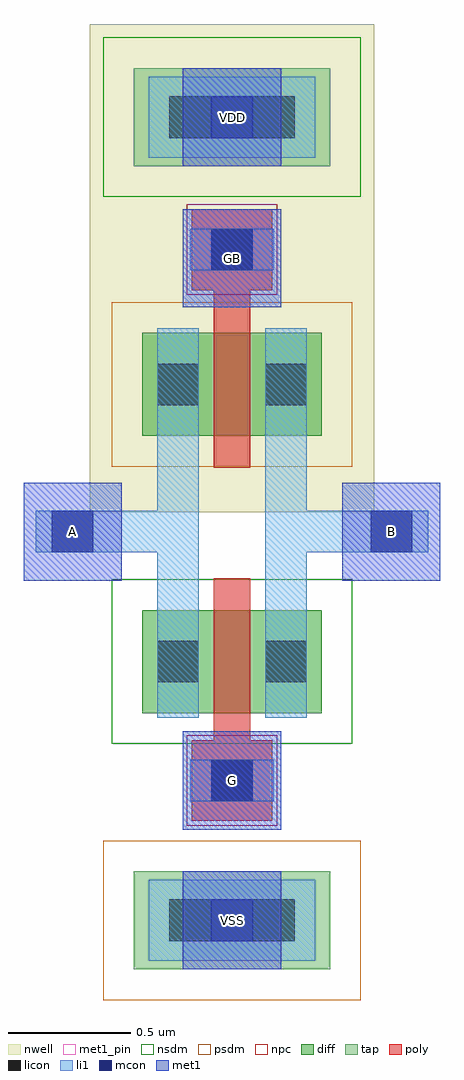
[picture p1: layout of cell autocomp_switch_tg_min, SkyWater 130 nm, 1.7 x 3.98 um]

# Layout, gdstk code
import gdstk
lib = gdstk.Library(unit=1e-6, precision=1e-09)
def R(c, l, rs):  # rectangles x0, y0, x1, y1
    for r in rs: c.add(gdstk.rectangle(r[:2], r[2:], *l))
nwell = (64, 20)
diff = (65, 20)
tap = (65, 44)
poly = (66, 20)
licon = (66, 44)
li1 = (67, 20)
mcon = (67, 44)
met1_pin = (68, 16)
met1 = (68, 20)
nsdm = (93, 44)
psdm = (94, 20)
npc = (95, 20)

autocomp_sky130_fd_pr__p = lib.new_cell('autocomp_sky130_fd_pr__pfet_01v8_28SET8')
R(autocomp_sky130_fd_pr__p, nwell, [(-0.545,-0.71,0.545,0.54)])
R(autocomp_sky130_fd_pr__p, diff, [(-0.365,-0.4,0.365,0.02)])
R(autocomp_sky130_fd_pr__p, poly, [(-0.075,-0.53,0.075,0.195), (-0.165,0.195,0.165,0.525)])
R(autocomp_sky130_fd_pr__p, licon, [(-0.305,-0.275,-0.135,-0.105), (0.135,-0.275,0.305,-0.105), (-0.085,0.275,0.085,0.445)])
R(autocomp_sky130_fd_pr__p, li1, [(-0.305,-0.42,-0.135,0.04), (0.135,-0.42,0.305,0.04), (-0.165,0.275,0.165,0.445)])
R(autocomp_sky130_fd_pr__p, psdm, [(-0.49,-0.525,0.49,0.145)])
R(autocomp_sky130_fd_pr__p, npc, [(-0.185,0.175,0.185,0.545)])

autocomp_sky130_fd_pr__n = lib.new_cell('autocomp_sky130_fd_pr__nfet_01v8_A6N89R')
R(autocomp_sky130_fd_pr__n, diff, [(-0.365,-0.055,0.365,0.365)])
R(autocomp_sky130_fd_pr__n, poly, [(-0.165,-0.495,0.165,-0.165), (-0.075,-0.165,0.075,0.495)])
R(autocomp_sky130_fd_pr__n, licon, [(-0.085,-0.415,0.085,-0.245), (-0.305,0.07,-0.135,0.24), (0.135,0.07,0.305,0.24)])
R(autocomp_sky130_fd_pr__n, li1, [(-0.165,-0.415,0.165,-0.245), (-0.305,-0.075,-0.135,0.385), (0.135,-0.075,0.305,0.385)])
R(autocomp_sky130_fd_pr__n, nsdm, [(-0.49,-0.18,0.49,0.49)])
R(autocomp_sky130_fd_pr__n, npc, [(-0.185,-0.515,0.185,-0.145)])

autocomp_switch_tg_min = lib.new_cell('autocomp_switch_tg_min')
R(autocomp_switch_tg_min, nwell, [(0.42,2.065,1.58,4.055)])
R(autocomp_switch_tg_min, tap, [(0.6,0.2,1.4,0.6), (0.6,3.475,1.4,3.875)])
R(autocomp_switch_tg_min, licon, [(0.745,0.315,0.915,0.485), (1.085,0.315,1.255,0.485), (0.745,3.59,0.915,3.76), (1.085,3.59,1.255,3.76)])
R(autocomp_switch_tg_min, li1, [(0.66,0.235,1.34,0.565), (0.83,0.885,1.17,1.055), (0.695,1.305,0.865,1.9), (1.135,1.305,1.305,1.9), (0.2,1.9,0.865,2.07), (1.135,1.9,1.8,2.07), (0.695,2.07,0.865,2.735), (1.135,2.07,1.305,2.735), (0.83,3.05,1.17,3.22), (0.66,3.51,1.34,3.84)])
R(autocomp_switch_tg_min, mcon, [(0.915,0.315,1.085,0.485), (0.915,0.885,1.085,1.055), (0.265,1.9,0.435,2.07), (1.565,1.9,1.735,2.07), (0.915,3.05,1.085,3.22), (0.915,3.59,1.085,3.76)])
R(autocomp_switch_tg_min, met1_pin, [(0.8,0.2,1.2,0.6), (0.8,0.77,1.2,1.17), (0.15,1.785,0.55,2.185), (1.45,1.785,1.85,2.185), (0.8,2.9,1.2,3.3), (0.8,3.475,1.2,3.875)])
R(autocomp_switch_tg_min, met1, [(0.8,0.2,1.2,0.6), (0.8,0.77,1.2,1.17), (0.15,1.785,0.55,2.185), (1.45,1.785,1.85,2.185), (0.8,2.9,1.2,3.3), (0.8,3.475,1.2,3.875)])
R(autocomp_switch_tg_min, nsdm, [(0.475,3.35,1.525,4)])
R(autocomp_switch_tg_min, psdm, [(0.475,0.075,1.525,0.725)])
autocomp_switch_tg_min.add(gdstk.Reference(autocomp_sky130_fd_pr__p, (1,2.775)))
autocomp_switch_tg_min.add(gdstk.Reference(autocomp_sky130_fd_pr__n, (1,1.3)))
autocomp_switch_tg_min.add(gdstk.Label('VSS', (1,0.4), layer=68, texttype=5))
autocomp_switch_tg_min.add(gdstk.Label('VDD', (1,3.675), layer=68, texttype=5))
autocomp_switch_tg_min.add(gdstk.Label('G', (1,0.97), layer=68, texttype=5))
autocomp_switch_tg_min.add(gdstk.Label('B', (1.65,1.985), layer=68, texttype=5))
autocomp_switch_tg_min.add(gdstk.Label('GB', (1,3.1), layer=68, texttype=5))
autocomp_switch_tg_min.add(gdstk.Label('A', (0.35,1.985), layer=68, texttype=5))

lib.write_gds('autocomp_switch_tg_min.gds')
